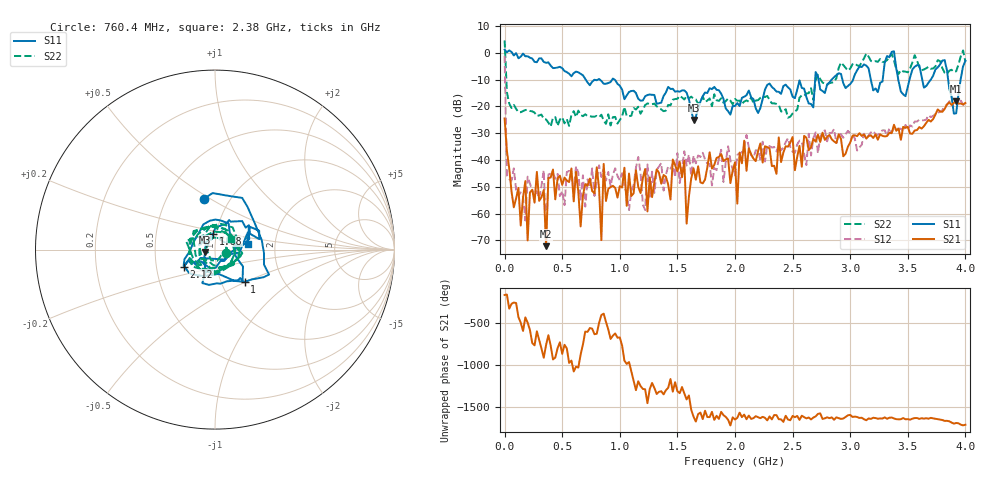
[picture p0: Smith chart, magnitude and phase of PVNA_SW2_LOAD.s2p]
! PocketVna 1.78  pocketvna.com
! Live measurements ((Reflection-S11, Transmission-S21, Transmission-S12, Reflection-S22) Linear 500000-4000000000/201 calibrated)
# Hz S RI R 50
! Hz  ReS11  ImS11  ReS21  ImS21  ReS12  ImS12  ReS22  ImS22
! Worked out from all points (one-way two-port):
!   201 points, 500 kHz to 4 GHz, reference 50 ohm
!   highest |S21| = -18.01 dB at 3.92 GHz (marker M1); lowest = -72.1 dB at 360.5 MHz (marker M2)
!   lowest |S11| = -25.1 dB at 1.64 GHz (marker M3), VSWR 1.12, Z = 44.8 - j1.21 ohm
!   |S11| at or under -10 dB: 704.7 MHz to 809.2 MHz (104.5 MHz wide, 13.8 % of centre); 955.7 MHz to 2.696 GHz (1.74 GHz wide, 95.3 % of centre); 3.179 GHz to 3.282 GHz (103 MHz wide, 3.19 % of centre) (the widest 3 of 9)
!   |S22| runs from -27.5 to 4.6 dB; largest |S21 - S12| = 0.94
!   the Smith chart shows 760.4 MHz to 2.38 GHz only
!   S11 on the Smith chart (normalised r, x): 760.4 MHz: 0.76, +0.47; 1 GHz: 1.29, -0.49; 1.68 GHz: 0.97, +0.17; 2.12 GHz: 0.69, -0.14; 2.38 GHz: 1.45, +0.09
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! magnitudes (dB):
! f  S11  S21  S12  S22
! 500 kHz  1.2  -24.5  -1.1  4.6
! 20.5 MHz  0.2  -36.6  -45.7  -14.7
! 200.5 MHz  -1.3  -70.0  -46.2  -21.3
! 340.5 MHz  -3.4  -51.2  -43.8  -24.6
! 360.5 MHz  -3.7  -72.1  -69.0  -24.8
! 420.4 MHz  -5.7  -43.5  -44.8  -24.1
! 680.4 MHz  -8.4  -53.2  -45.7  -23.6
! 760.4 MHz  -10.7  -51.5  -43.1  -23.8
! 840.4 MHz  -10.5  -69.9  -46.3  -23.1
! 1 GHz  -12.3  -49.7  -47.6  -25.1
! 1.34 GHz  -18.8  -44.8  -42.4  -20.6
! 1.56 GHz  -14.0  -40.2  -36.7  -17.4
! 1.58 GHz  -14.9  -63.7  -42.0  -16.1
! 1.64 GHz  -25.1  -43.1  -38.4  -17.1
! 1.68 GHz  -20.9  -42.3  -38.3  -19.0
! 2 GHz  -19.8  -40.8  -45.7  -17.2
! 2.12 GHz  -14.0  -35.6  -35.3  -18.2
! 2.38 GHz  -14.5  -31.5  -34.2  -19.4
! 2.68 GHz  -20.3  -32.2  -31.8  -17.5
! 3.34 GHz  -1.6  -29.8  -28.1  -1.7
! 3.92 GHz  -22.6  -18.0  -18.2  -6.9
! 4 GHz  -3.0  -18.7  -20.1  -3.2
